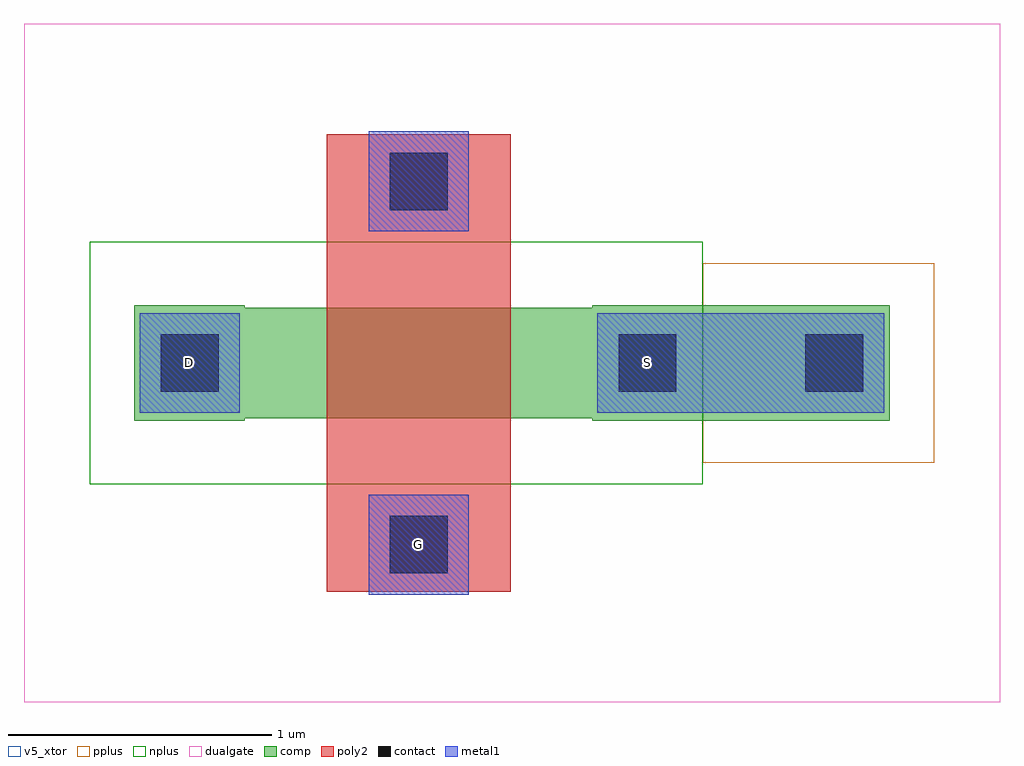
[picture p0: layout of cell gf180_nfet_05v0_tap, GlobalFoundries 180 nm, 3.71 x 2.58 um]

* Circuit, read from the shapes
.subckt gf180_nfet_05v0_tap D G S
XM1 S G D S nfet_05v0 w=0.42u l=0.7u
.ends

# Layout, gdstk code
import gdstk
lib = gdstk.Library(unit=1e-6, precision=1e-09)
def R(c, l, rs):  # rectangles x0, y0, x1, y1
    for r in rs: c.add(gdstk.rectangle(r[:2], r[2:], *l))
def P(c, l, *ps):  # polygons
    for p in ps: c.add(gdstk.Polygon(p, *l))
comp = (22, 0)
poly2 = (30, 0)
pplus = (31, 0)
nplus = (32, 0)
contact = (33, 0)
metal1 = (34, 0)
dualgate = (55, 0)
v5_xtor = (112, 1)

nfet = lib.new_cell('nfet')
P(nfet, comp, [(-0.42,-0.01),(-0.42,0.43),(0,0.43),(0,0.42),(1.32,0.42),(1.32,0.43),(2.45,0.43),(2.45,-0.01),(1.32,-0.01),(1.32,0),(0,0),(0,-0.01)])
R(nfet, poly2, [(0.31,-0.66,1.01,1.08)])
R(nfet, pplus, [(1.74,-0.17,2.62,0.59)])
R(nfet, nplus, [(-0.59,-0.25,1.74,0.67)])
R(nfet, contact, [(0.55,-0.59,0.77,-0.37), (-0.32,0.1,-0.1,0.32), (1.42,0.1,1.64,0.32), (2.13,0.1,2.35,0.32), (0.55,0.79,0.77,1.01)])
R(nfet, metal1, [(0.47,-0.67,0.85,-0.29), (-0.4,0.02,-0.02,0.4), (1.34,0.02,1.72,0.4), (2.05,0.02,2.43,0.4), (0.47,0.71,0.85,1.09)])
R(nfet, dualgate, [(-0.84,-1.08,2.87,1.5)])
R(nfet, v5_xtor, [(-0.84,-1.08,2.87,1.5)])

gf180_nfet_05v0_tap = lib.new_cell('gf180_nfet_05v0_tap')
R(gf180_nfet_05v0_tap, metal1, [(1.72,0.02,2.05,0.4)])
gf180_nfet_05v0_tap.add(gdstk.Reference(nfet, (0,0)))
gf180_nfet_05v0_tap.add(gdstk.Label('D', (-0.21,0.21), layer=34, texttype=10))
gf180_nfet_05v0_tap.add(gdstk.Label('S', (1.53,0.21), layer=34, texttype=10))
gf180_nfet_05v0_tap.add(gdstk.Label('G', (0.66,-0.48), layer=34, texttype=10))

lib.write_gds('gf180_nfet_05v0_tap.gds')
